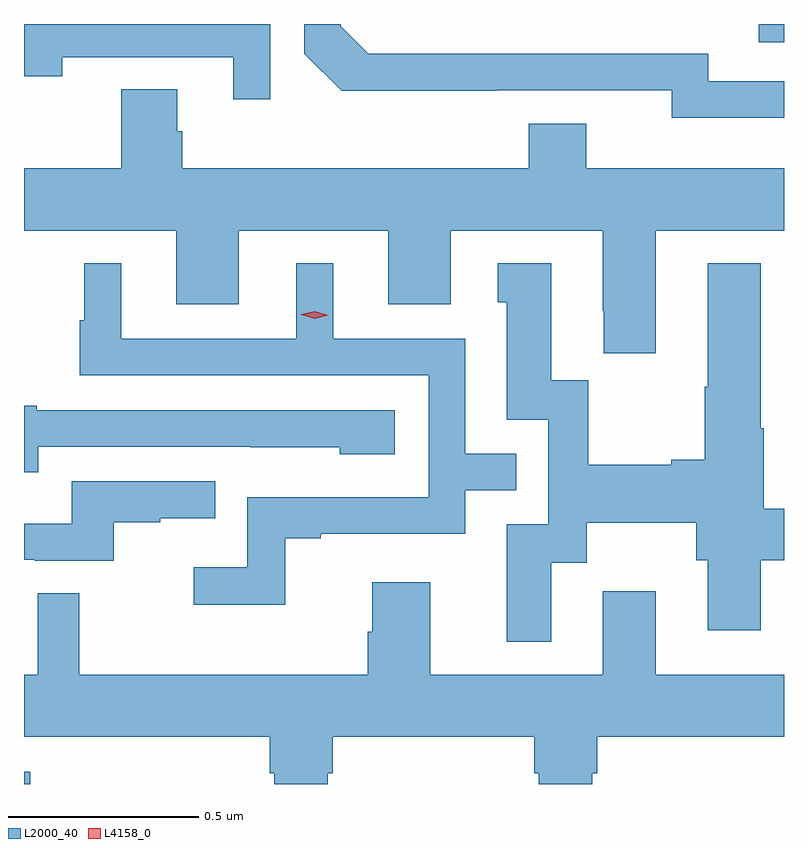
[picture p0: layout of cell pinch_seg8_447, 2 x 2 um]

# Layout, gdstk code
import gdstk
lib = gdstk.Library(unit=1e-6, precision=1e-09)
def R(c, l, rs):  # rectangles x0, y0, x1, y1
    for r in rs: c.add(gdstk.rectangle(r[:2], r[2:], *l))
def P(c, l, *ps):  # polygons
    for p in ps: c.add(gdstk.Polygon(p, *l))
L2000_40 = (2000, 40)
L4158_0 = (4158, 0)

pinch_seg8_447 = lib.new_cell('pinch_seg8_447')
R(pinch_seg8_447, L2000_40, [(325.314,1136.356,325.33,1136.388), (327.247,1138.308,327.314,1138.356)])
P(pinch_seg8_447, L2000_40, [(327.314,1138.206),(327.114,1138.206),(327.114,1138.278),(326.22,1138.278),(326.148,1138.35),(326.148,1138.356),(326.052,1138.356),(326.052,1138.278),(326.15,1138.181),(326.558,1138.181),(326.558,1138.182),(327.018,1138.182),(327.018,1138.109),(327.314,1138.109)],
  [(325.962,1138.356),(325.314,1138.356),(325.314,1138.218),(325.414,1138.218),(325.414,1138.269),(325.865,1138.269),(325.865,1138.158),(325.962,1138.158)],
  [(326.977,1137.812),(327.314,1137.812),(327.314,1137.976),(326.794,1137.976),(326.794,1138.093),(326.642,1138.093),(326.642,1137.976),(325.73,1137.976),(325.73,1138.074),(325.717,1138.074),(325.717,1138.184),(325.57,1138.184),(325.57,1137.976),(325.314,1137.976),(325.314,1137.812),(325.715,1137.812),(325.715,1137.618),(325.879,1137.618),(325.879,1137.812),(326.273,1137.812),(326.273,1137.618),(326.437,1137.618),(326.437,1137.812),(326.837,1137.812),(326.837,1137.601),(326.84,1137.601),(326.84,1137.489),(326.977,1137.489)],
  [(326.701,1136.938),(326.795,1136.938),(326.795,1137.044),(327.083,1137.044),(327.083,1136.945),(327.113,1136.945),(327.113,1136.76),(327.253,1136.76),(327.253,1136.945),(327.314,1136.945),(327.314,1137.08),(327.261,1137.08),(327.261,1137.292),(327.253,1137.292),(327.253,1137.727),(327.113,1137.727),(327.113,1137.401),(327.106,1137.401),(327.106,1137.209),(327.017,1137.209),(327.017,1137.196),(326.799,1137.196),(326.799,1137.419),(326.701,1137.419),(326.701,1137.727),(326.561,1137.727),(326.561,1137.624),(326.585,1137.624),(326.585,1137.315),(326.694,1137.315),(326.694,1137.039),(326.585,1137.039),(326.585,1136.73),(326.701,1136.73)],
  [(326.001,1137.003),(326.095,1137.003),(326.095,1137.015),(326.475,1137.015),(326.475,1137.129),(326.609,1137.129),(326.609,1137.225),(326.475,1137.225),(326.475,1137.528),(326.128,1137.528),(326.128,1137.727),(326.03,1137.727),(326.03,1137.528),(325.57,1137.528),(325.57,1137.727),(325.472,1137.727),(325.472,1137.576),(325.461,1137.576),(325.461,1137.432),(326.379,1137.432),(326.379,1137.111),(325.902,1137.111),(325.902,1136.926),(325.761,1136.926),(325.761,1136.828),(326.001,1136.828)],
  [(325.351,1137.243),(325.909,1137.243),(325.909,1137.242),(326.145,1137.242),(326.145,1137.224),(326.29,1137.224),(326.29,1137.339),(325.347,1137.339),(325.347,1137.352),(325.314,1137.352),(325.314,1137.176),(325.351,1137.176)],
  [(325.55,1137.045),(325.673,1137.045),(325.673,1137.056),(325.817,1137.056),(325.817,1137.153),(325.44,1137.153),(325.44,1137.041),(325.314,1137.041),(325.314,1136.946),(325.342,1136.946),(325.342,1136.943),(325.55,1136.943)],
  [(326.113,1136.384),(326.126,1136.384),(326.126,1136.48),(326.657,1136.48),(326.657,1136.384),(326.669,1136.384),(326.669,1136.356),(326.809,1136.356),(326.809,1136.384),(326.822,1136.384),(326.822,1136.48),(327.314,1136.48),(327.314,1136.644),(326.977,1136.644),(326.977,1136.863),(326.837,1136.863),(326.837,1136.644),(326.383,1136.644),(326.383,1136.887),(326.231,1136.887),(326.231,1136.757),(326.219,1136.757),(326.219,1136.644),(325.459,1136.644),(325.459,1136.858),(325.35,1136.858),(325.35,1136.644),(325.314,1136.644),(325.314,1136.48),(325.961,1136.48),(325.961,1136.384),(325.973,1136.384),(325.973,1136.356),(326.113,1136.356)])
P(pinch_seg8_447, L4158_0, [(326.079,1137.58),(326.043,1137.591),(326.043,1137.592),(326.043,1137.592),(326.079,1137.6),(326.115,1137.59),(326.115,1137.589),(326.115,1137.589)])

lib.write_gds('pinch_seg8_447.gds')
